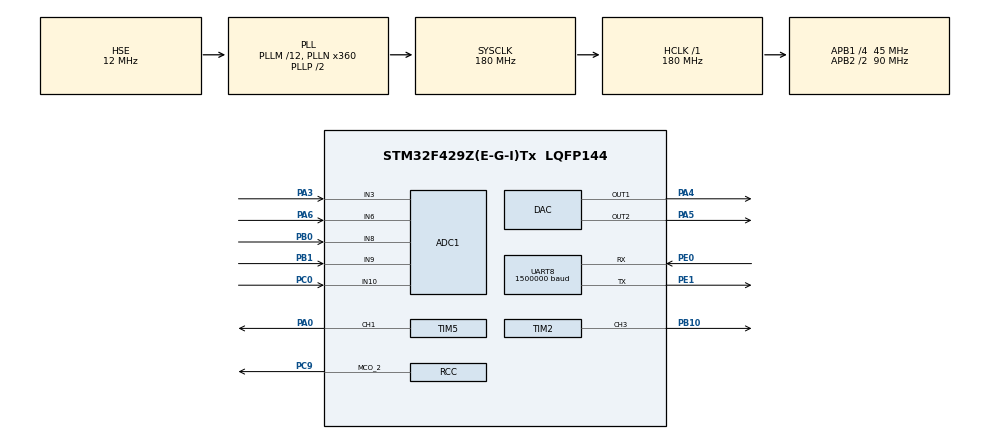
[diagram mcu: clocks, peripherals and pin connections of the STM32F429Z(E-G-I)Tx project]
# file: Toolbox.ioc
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ADC1.Channel-16\#ChannelRegularConversion=ADC_CHANNEL_TEMPSENSOR
ADC1.Channel-17\#ChannelRegularConversion=ADC_CHANNEL_VREFINT
ADC1.DMAContinuousRequests=ENABLE
ADC1.EOCSelection=ADC_EOC_SEQ_CONV
ADC1.ExternalTrigConv=ADC_EXTERNALTRIGCONV_T5_CC1
ADC1.ExternalTrigConvEdge=ADC_EXTERNALTRIGCONVEDGE_RISING
ADC1.InjNumberOfConversion=0
ADC1.NbrOfConversion=2
ADC1.Rank-17\#ChannelRegularConversion=2
ADC1.ScanConvMode=ENABLE
ADC1.master=1
Dma.ADC1.2.Channel=DMA_CHANNEL_0
Dma.ADC1.2.Direction=DMA_PERIPH_TO_MEMORY
Dma.ADC1.2.FIFOMode=DMA_FIFOMODE_DISABLE
Dma.ADC1.2.FIFOThreshold=DMA_FIFO_THRESHOLD_HALFFULL
Dma.ADC1.2.Instance=DMA2_Stream0
Dma.ADC1.2.MemBurst=DMA_MBURST_SINGLE
Dma.ADC1.2.MemDataAlignment=DMA_MDATAALIGN_HALFWORD
Dma.ADC1.2.MemInc=DMA_MINC_ENABLE
Dma.ADC1.2.Mode=DMA_CIRCULAR
Dma.ADC1.2.PeriphBurst=DMA_PBURST_SINGLE
Dma.ADC1.2.PeriphDataAlignment=DMA_PDATAALIGN_HALFWORD
Dma.ADC1.2.PeriphInc=DMA_PINC_DISABLE
Dma.ADC1.2.Priority=DMA_PRIORITY_HIGH
Dma.Request0=UART8_TX
Dma.Request1=UART8_RX
Dma.Request2=ADC1
Dma.UART8_RX.1.Channel=DMA_CHANNEL_5
Dma.UART8_RX.1.Direction=DMA_PERIPH_TO_MEMORY
Dma.UART8_RX.1.FIFOMode=DMA_FIFOMODE_DISABLE
Dma.UART8_RX.1.FIFOThreshold=DMA_FIFO_THRESHOLD_HALFFULL
Dma.UART8_RX.1.Instance=DMA1_Stream6
Dma.UART8_RX.1.MemBurst=DMA_MBURST_SINGLE
Dma.UART8_RX.1.MemDataAlignment=DMA_MDATAALIGN_BYTE
Dma.UART8_RX.1.MemInc=DMA_MINC_ENABLE
Dma.UART8_RX.1.Mode=DMA_CIRCULAR
Dma.UART8_RX.1.PeriphBurst=DMA_PBURST_SINGLE
Dma.UART8_RX.1.PeriphDataAlignment=DMA_PDATAALIGN_BYTE
Dma.UART8_RX.1.PeriphInc=DMA_PINC_DISABLE
Dma.UART8_RX.1.Priority=DMA_PRIORITY_VERY_HIGH
Dma.UART8_TX.0.Channel=DMA_CHANNEL_5
Dma.UART8_TX.0.Direction=DMA_MEMORY_TO_PERIPH
Dma.UART8_TX.0.FIFOMode=DMA_FIFOMODE_ENABLE
Dma.UART8_TX.0.FIFOThreshold=DMA_FIFO_THRESHOLD_1QUARTERFULL
Dma.UART8_TX.0.Instance=DMA1_Stream0
Dma.UART8_TX.0.MemBurst=DMA_MBURST_SINGLE
Dma.UART8_TX.0.MemDataAlignment=DMA_MDATAALIGN_BYTE
Dma.UART8_TX.0.MemInc=DMA_MINC_ENABLE
Dma.UART8_TX.0.Mode=DMA_NORMAL
Dma.UART8_TX.0.PeriphBurst=DMA_PBURST_SINGLE
Dma.UART8_TX.0.PeriphDataAlignment=DMA_PDATAALIGN_BYTE
Dma.UART8_TX.0.PeriphInc=DMA_PINC_DISABLE
Dma.UART8_TX.0.Priority=DMA_PRIORITY_VERY_HIGH
Mcu.Family=STM32F4
Mcu.Name=STM32F429Z(E-G-I)Tx
Mcu.Package=LQFP144
NVIC.ADC_IRQn=true\:3\:0\:true\:false\:true
NVIC.DMA1_Stream0_IRQn=true\:1\:0\:true\:false\:true
NVIC.DMA1_Stream6_IRQn=true\:1\:0\:true\:false\:true
NVIC.DMA2_Stream0_IRQn=true\:2\:0\:true\:false\:true
NVIC.PriorityGroup=NVIC_PRIORITYGROUP_4
PA0/WKUP.GPIO_ModeDefaultPP=GPIO_MODE_AF_OD
PA0/WKUP.GPIO_PuPd=GPIO_NOPULL
PA0/WKUP.GPIO_Speed=GPIO_SPEED_FREQ_LOW
PA0/WKUP.Signal=S_TIM5_CH1
PA1.Signal=ETH_REF_CLK
PA11.Signal=USB_OTG_FS_DM
PA12.Signal=USB_OTG_FS_DP
PA13.Mode=JTAG(5-pin)
PA13.Signal=SYS_JTMS-SWDIO
PA14.Mode=JTAG(5-pin)
PA14.Signal=SYS_JTCK-SWCLK
PA15.Mode=JTAG(5-pin)
PA15.Signal=SYS_JTDI
PA2.Signal=ETH_MDIO
PA3.Signal=ADCx_IN3
PA4.Signal=COMP_DAC1_group
PA5.Signal=COMP_DAC2_group
PA6.Signal=ADCx_IN6
PA7.Signal=ETH_CRS_DV
PA9.Signal=USB_OTG_FS_VBUS
PB0.Signal=ADCx_IN8
PB1.Signal=ADCx_IN9
PB10.GPIO_ModeDefaultPP=GPIO_MODE_AF_PP
PB10.GPIO_PuPd=GPIO_PULLUP
PB10.GPIO_Speed=GPIO_SPEED_FREQ_VERY_HIGH
PB10.Signal=S_TIM2_CH3
PB11.Signal=ETH_TX_EN
PB12.Signal=ETH_TXD0
PB13.Signal=ETH_TXD1
PB3.Mode=JTAG(5-pin)
PB3.Signal=SYS_JTDO-SWO
PB4.Mode=JTAG(5-pin)
PB4.Signal=SYS_JTRST
PC0.Signal=ADCx_IN10
PC1.Signal=ETH_MDC
PC12.Signal=SDIO_CK
PC4.Signal=ETH_RXD0
PC5.Signal=ETH_RXD1
PC8.Signal=SDIO_D0
PC9.GPIO_Mode=GPIO_MODE_AF_PP
PC9.GPIO_PuPd=GPIO_NOPULL
PC9.GPIO_Speed=GPIO_SPEED_FREQ_VERY_HIGH
PC9.Mode=Clock-out-2
PC9.Signal=RCC_MCO_2
PD2.Signal=SDIO_CMD
PE0.GPIO_Mode=GPIO_MODE_AF_PP
PE0.GPIO_PuPd=GPIO_PULLUP
PE0.GPIO_Speed=GPIO_SPEED_FREQ_VERY_HIGH
PE0.Mode=Asynchronous
PE0.Signal=UART8_RX
PE1.GPIO_Mode=GPIO_MODE_AF_PP
PE1.GPIO_PuPd=GPIO_PULLUP
PE1.GPIO_Speed=GPIO_SPEED_FREQ_VERY_HIGH
PE1.Mode=Asynchronous
PE1.Signal=UART8_TX
PH0/OSC_IN.Mode=HSE-External-Oscillator
PH0/OSC_IN.Signal=RCC_OSC_IN
PH1/OSC_OUT.Mode=HSE-External-Oscillator
PH1/OSC_OUT.Signal=RCC_OSC_OUT
ProjectManager.HeapSize=0x400
ProjectManager.StackSize=0x200
ProjectManager.TargetToolchain=TrueSTUDIO
RCC.48MHZClocksFreq_Value=45000000
RCC.AHBFreq_Value=180000000
RCC.APB1CLKDivider=RCC_HCLK_DIV4
RCC.APB1Freq_Value=45000000
RCC.APB1TimFreq_Value=90000000
RCC.APB2CLKDivider=RCC_HCLK_DIV2
RCC.APB2Freq_Value=90000000
RCC.APB2TimFreq_Value=180000000
RCC.CortexFreq_Value=180000000
RCC.HCLKFreq_Value=180000000
RCC.HSE_VALUE=12000000
RCC.HSI_VALUE=16000000
RCC.LSE_VALUE=32768
RCC.PLLI2SN=400
RCC.PLLM=12
RCC.PLLN=360
RCC.PLLQ=8
RCC.PLLSourceVirtual=RCC_PLLSOURCE_HSE
RCC.RCC_MCO2Source=RCC_MCO2SOURCE_PLLI2SCLK
RCC.RCC_MCODiv2=RCC_MCODIV_4
RCC.SYSCLKFreq_VALUE=180000000
RCC.SYSCLKSource=RCC_SYSCLKSOURCE_PLLCLK
RCC.VCOOutputFreq_Value=360000000
SH.ADCx_IN10.0=ADC1_IN10,IN10
SH.ADCx_IN3.0=ADC1_IN3,IN3
SH.ADCx_IN6.0=ADC1_IN6,IN6
SH.ADCx_IN8.0=ADC1_IN8,IN8
SH.ADCx_IN9.0=ADC1_IN9,IN9
SH.COMP_DAC1_group.0=DAC_OUT1,DAC_OUT1
SH.COMP_DAC2_group.0=DAC_OUT2,DAC_OUT2
SH.S_TIM2_CH3.0=TIM2_CH3,PWM Generation3 CH3
SH.S_TIM5_CH1.0=TIM5_CH1,PWM Generation1 CH1
TIM2.Channel-PWM\ Generation3\ CH3=TIM_CHANNEL_3
TIM2.OCFastMode_PWM-PWM\ Generation3\ CH3=TIM_OCFAST_ENABLE
TIM2.Period=9000
TIM2.Pulse-PWM\ Generation3\ CH3=3000
TIM5.OCFastMode_PWM-PWM\ Generation1\ CH1=TIM_OCFAST_ENABLE
TIM5.Period=180000000
TIM5.Pulse-PWM\ Generation1\ CH1=10
TIM5.TIM_MasterOutputTrigger=TIM_TRGO_OC1REF
UART8.BaudRate=1500000
VP_ADC1_TempSens_Input.Mode=IN-TempSens
VP_ADC1_Vref_Input.Mode=IN-Vrefint
VP_TIM2_VS_ClockSourceINT.Mode=Internal
VP_TIM5_VS_ClockSourceINT.Mode=Internal
board=Toolbox

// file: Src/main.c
/**
  ******************************************************************************
  * File Name          : main.c
  * Description        : Main program body
  ******************************************************************************
  *
  * COPYRIGHT(c) 2016 STMicroelectronics
  *
  * Redistribution and use in source and binary forms, with or without modification,
  * are permitted provided that the following conditions are met:
  *   1. Redistributions of source code must retain the above copyright notice,
  *      this list of conditions and the following disclaimer.
  *   2. Redistributions in binary form must reproduce the above copyright notice,
  *      this list of conditions and the following disclaimer in the documentation
  *      and/or other materials provided with the distribution.
  *   3. Neither the name of STMicroelectronics nor the names of its contributors
  *      may be used to endorse or promote products derived from this software
  *      without specific prior written permission.
  *
  * THIS SOFTWARE IS PROVIDED BY THE COPYRIGHT HOLDERS AND CONTRIBUTORS "AS IS"
  * AND ANY EXPRESS OR IMPLIED WARRANTIES, INCLUDING, BUT NOT LIMITED TO, THE
  * IMPLIED WARRANTIES OF MERCHANTABILITY AND FITNESS FOR A PARTICULAR PURPOSE ARE
  * DISCLAIMED. IN NO EVENT SHALL THE COPYRIGHT HOLDER OR CONTRIBUTORS BE LIABLE
  * FOR ANY DIRECT, INDIRECT, INCIDENTAL, SPECIAL, EXEMPLARY, OR CONSEQUENTIAL
  * DAMAGES (INCLUDING, BUT NOT LIMITED TO, PROCUREMENT OF SUBSTITUTE GOODS OR
  * SERVICES; LOSS OF USE, DATA, OR PROFITS; OR BUSINESS INTERRUPTION) HOWEVER
  * CAUSED AND ON ANY THEORY OF LIABILITY, WHETHER IN CONTRACT, STRICT LIABILITY,
  * OR TORT (INCLUDING NEGLIGENCE OR OTHERWISE) ARISING IN ANY WAY OUT OF THE USE
  * OF THIS SOFTWARE, EVEN IF ADVISED OF THE POSSIBILITY OF SUCH DAMAGE.
  *
  ******************************************************************************
  */
#include "stm32f4xx_hal.h"

/* USER CODE BEGIN Includes */
#include "ctrl.h"
#include "uart.h"
#include "adc.h"
#include "dac.h"
#include "handles.h"
#include "info.h"
/* USER CODE END Includes */

ADC_HandleTypeDef hadc1;
DMA_HandleTypeDef hdma_adc1;

DAC_HandleTypeDef hdac;

TIM_HandleTypeDef htim2;
TIM_HandleTypeDef htim5;

UART_HandleTypeDef huart8;
DMA_HandleTypeDef hdma_uart8_tx;
DMA_HandleTypeDef hdma_uart8_rx;

/* USER CODE BEGIN PV */
//uint8_t uartBuffer[2][PKG_SIZE];
//uint8_t uartRecv = 0;
/* USER CODE END PV */

void SystemClock_Config(void);
static void MX_GPIO_Init(void);
static void MX_DMA_Init(void);
static void MX_ADC1_Init(void);
static void MX_DAC_Init(void);
static void MX_TIM2_Init(void);
static void MX_TIM5_Init(void);
static void MX_UART8_Init(void);

void HAL_TIM_MspPostInit(TIM_HandleTypeDef *htim);

/* USER CODE BEGIN PFP */
void init(void);
/* USER CODE END PFP */

/* USER CODE BEGIN 0 */
void init(void)
{
	initUART();
	initADC();
	initDAC();
	// PWM Timer
	HAL_TIM_OC_Start(&htim2, TIM_CHANNEL_3);
}

void reset(void)
{
	resetADC();
}
/* USER CODE END 0 */

int main(void)
{

  /* MCU Configuration----------------------------------------------------------*/

  /* Reset of all peripherals, Initializes the Flash interface and the Systick. */
  HAL_Init();

  /* Configure the system clock */
  SystemClock_Config();

  /* Initialize all configured peripherals */
  MX_GPIO_Init();
  MX_DMA_Init();
  MX_ADC1_Init();
  MX_DAC_Init();
  MX_TIM2_Init();
  MX_TIM5_Init();
  MX_UART8_Init();

  /* USER CODE BEGIN 2 */
	init();
  /* USER CODE END 2 */

  /* USER CODE BEGIN 3 */
	for (;;)
		ctrlRootLoop();
  /* USER CODE END 3 */

}

/** System Clock Configuration
*/
void SystemClock_Config(void)
{

  RCC_OscInitTypeDef RCC_OscInitStruct;
  RCC_ClkInitTypeDef RCC_ClkInitStruct;
  RCC_PeriphCLKInitTypeDef PeriphClkInitStruct;

  __HAL_RCC_PWR_CLK_ENABLE();

  __HAL_PWR_VOLTAGESCALING_CONFIG(PWR_REGULATOR_VOLTAGE_SCALE1);

  RCC_OscInitStruct.OscillatorType = RCC_OSCILLATORTYPE_HSE;
  RCC_OscInitStruct.HSEState = RCC_HSE_ON;
  RCC_OscInitStruct.PLL.PLLState = RCC_PLL_ON;
  RCC_OscInitStruct.PLL.PLLSource = RCC_PLLSOURCE_HSE;
  RCC_OscInitStruct.PLL.PLLM = 12;
  RCC_OscInitStruct.PLL.PLLN = 360;
  RCC_OscInitStruct.PLL.PLLP = RCC_PLLP_DIV2;
  RCC_OscInitStruct.PLL.PLLQ = 8;
  HAL_RCC_OscConfig(&RCC_OscInitStruct);

  HAL_PWREx_EnableOverDrive();

  RCC_ClkInitStruct.ClockType = RCC_CLOCKTYPE_HCLK|RCC_CLOCKTYPE_SYSCLK
                              |RCC_CLOCKTYPE_PCLK1|RCC_CLOCKTYPE_PCLK2;
  RCC_ClkInitStruct.SYSCLKSource = RCC_SYSCLKSOURCE_PLLCLK;
  RCC_ClkInitStruct.AHBCLKDivider = RCC_SYSCLK_DIV1;
  RCC_ClkInitStruct.APB1CLKDivider = RCC_HCLK_DIV4;
  RCC_ClkInitStruct.APB2CLKDivider = RCC_HCLK_DIV2;
  HAL_RCC_ClockConfig(&RCC_ClkInitStruct, FLASH_LATENCY_5);

  PeriphClkInitStruct.PeriphClockSelection = RCC_PERIPHCLK_PLLI2S;
  PeriphClkInitStruct.PLLI2S.PLLI2SN = 400;
  PeriphClkInitStruct.PLLI2S.PLLI2SR = 2;
  HAL_RCCEx_PeriphCLKConfig(&PeriphClkInitStruct);

  HAL_RCC_MCOConfig(RCC_MCO2, RCC_MCO2SOURCE_PLLI2SCLK, RCC_MCODIV_4);

  HAL_SYSTICK_Config(HAL_RCC_GetHCLKFreq()/1000);

  HAL_SYSTICK_CLKSourceConfig(SYSTICK_CLKSOURCE_HCLK);

  /* SysTick_IRQn interrupt configuration */
  HAL_NVIC_SetPriority(SysTick_IRQn, 0, 0);
}

/* ADC1 init function */
void MX_ADC1_Init(void)
{

  ADC_ChannelConfTypeDef sConfig;

    /**Configure the global features of the ADC (Clock, Resolution, Data Alignment and number of conversion)
    */
  hadc1.Instance = ADC1;
  hadc1.Init.ClockPrescaler = ADC_CLOCK_SYNC_PCLK_DIV2;
  hadc1.Init.Resolution = ADC_RESOLUTION_12B;
  hadc1.Init.ScanConvMode = ENABLE;
  hadc1.Init.ContinuousConvMode = DISABLE;
  hadc1.Init.DiscontinuousConvMode = DISABLE;
  hadc1.Init.ExternalTrigConvEdge = ADC_EXTERNALTRIGCONVEDGE_RISING;
  hadc1.Init.ExternalTrigConv = ADC_EXTERNALTRIGCONV_T5_CC1;
  hadc1.Init.DataAlign = ADC_DATAALIGN_RIGHT;
  hadc1.Init.NbrOfConversion = 2;
  hadc1.Init.DMAContinuousRequests = ENABLE;
  hadc1.Init.EOCSelection = ADC_EOC_SEQ_CONV;
  HAL_ADC_Init(&hadc1);

    /**Configure for the selected ADC regular channel its corresponding rank in the sequencer and its sample time.
    */
  sConfig.Channel = ADC_CHANNEL_VREFINT;
  sConfig.Rank = 2;
  sConfig.SamplingTime = ADC_SAMPLETIME_3CYCLES;
  HAL_ADC_ConfigChannel(&hadc1, &sConfig);

    /**Configure for the selected ADC regular channel its corresponding rank in the sequencer and its sample time.
    */
  sConfig.Channel = ADC_CHANNEL_TEMPSENSOR;
  sConfig.Rank = 1;
  HAL_ADC_ConfigChannel(&hadc1, &sConfig);

}

/* DAC init function */
void MX_DAC_Init(void)
{

  DAC_ChannelConfTypeDef sConfig;

    /**DAC Initialization
    */
  hdac.Instance = DAC;
  HAL_DAC_Init(&hdac);

    /**DAC channel OUT1 config
    */
  sConfig.DAC_Trigger = DAC_TRIGGER_NONE;
  sConfig.DAC_OutputBuffer = DAC_OUTPUTBUFFER_ENABLE;
  HAL_DAC_ConfigChannel(&hdac, &sConfig, DAC_CHANNEL_1);

    /**DAC channel OUT2 config
    */
  HAL_DAC_ConfigChannel(&hdac, &sConfig, DAC_CHANNEL_2);

}

/* TIM2 init function */
void MX_TIM2_Init(void)
{

  TIM_ClockConfigTypeDef sClockSourceConfig;
  TIM_MasterConfigTypeDef sMasterConfig;
  TIM_OC_InitTypeDef sConfigOC;

  htim2.Instance = TIM2;
  htim2.Init.Prescaler = 0;
  htim2.Init.CounterMode = TIM_COUNTERMODE_UP;
  htim2.Init.Period = 9000;
  htim2.Init.ClockDivision = TIM_CLOCKDIVISION_DIV1;
  HAL_TIM_Base_Init(&htim2);

  sClockSourceConfig.ClockSource = TIM_CLOCKSOURCE_INTERNAL;
  HAL_TIM_ConfigClockSource(&htim2, &sClockSourceConfig);

  HAL_TIM_PWM_Init(&htim2);

  sMasterConfig.MasterOutputTrigger = TIM_TRGO_RESET;
  sMasterConfig.MasterSlaveMode = TIM_MASTERSLAVEMODE_DISABLE;
  HAL_TIMEx_MasterConfigSynchronization(&htim2, &sMasterConfig);

  sConfigOC.OCMode = TIM_OCMODE_PWM1;
  sConfigOC.Pulse = 3000;
  sConfigOC.OCPolarity = TIM_OCPOLARITY_HIGH;
  sConfigOC.OCFastMode = TIM_OCFAST_ENABLE;
  HAL_TIM_PWM_ConfigChannel(&htim2, &sConfigOC, TIM_CHANNEL_3);

  HAL_TIM_MspPostInit(&htim2);

}

/* TIM5 init function */
void MX_TIM5_Init(void)
{

  TIM_ClockConfigTypeDef sClockSourceConfig;
  TIM_MasterConfigTypeDef sMasterConfig;
  TIM_OC_InitTypeDef sConfigOC;

  htim5.Instance = TIM5;
  htim5.Init.Prescaler = 0;
  htim5.Init.CounterMode = TIM_COUNTERMODE_UP;
  htim5.Init.Period = 180000000;
  htim5.Init.ClockDivision = TIM_CLOCKDIVISION_DIV1;
  HAL_TIM_Base_Init(&htim5);

  sClockSourceConfig.ClockSource = TIM_CLOCKSOURCE_INTERNAL;
  HAL_TIM_ConfigClockSource(&htim5, &sClockSourceConfig);

  HAL_TIM_PWM_Init(&htim5);

  sMasterConfig.MasterOutputTrigger = TIM_TRGO_OC1REF;
  sMasterConfig.MasterSlaveMode = TIM_MASTERSLAVEMODE_DISABLE;
  HAL_TIMEx_MasterConfigSynchronization(&htim5, &sMasterConfig);

  sConfigOC.OCMode = TIM_OCMODE_PWM1;
  sConfigOC.Pulse = 10;
  sConfigOC.OCPolarity = TIM_OCPOLARITY_HIGH;
  sConfigOC.OCFastMode = TIM_OCFAST_ENABLE;
  HAL_TIM_PWM_ConfigChannel(&htim5, &sConfigOC, TIM_CHANNEL_1);

  HAL_TIM_MspPostInit(&htim5);

}

/* UART8 init function */
void MX_UART8_Init(void)
{

  huart8.Instance = UART8;
  huart8.Init.BaudRate = 1500000;
  huart8.Init.WordLength = UART_WORDLENGTH_8B;
  huart8.Init.StopBits = UART_STOPBITS_1;
  huart8.Init.Parity = UART_PARITY_NONE;
  huart8.Init.Mode = UART_MODE_TX_RX;
  huart8.Init.HwFlowCtl = UART_HWCONTROL_NONE;
  huart8.Init.OverSampling = UART_OVERSAMPLING_16;
  HAL_UART_Init(&huart8);

}

void MX_DMA_Init(void)
{
  /* DMA controller clock enable */
  __HAL_RCC_DMA1_CLK_ENABLE();
  __HAL_RCC_DMA2_CLK_ENABLE();

  /* DMA interrupt init */
  /* DMA1_Stream0_IRQn interrupt configuration */
  HAL_NVIC_SetPriority(DMA1_Stream0_IRQn, 1, 0);
  HAL_NVIC_EnableIRQ(DMA1_Stream0_IRQn);
  /* DMA1_Stream6_IRQn interrupt configuration */
  HAL_NVIC_SetPriority(DMA1_Stream6_IRQn, 1, 0);
  HAL_NVIC_EnableIRQ(DMA1_Stream6_IRQn);
  /* DMA2_Stream0_IRQn interrupt configuration */
  HAL_NVIC_SetPriority(DMA2_Stream0_IRQn, 2, 0);
  HAL_NVIC_EnableIRQ(DMA2_Stream0_IRQn);

}

/** Configure pins as
        * Analog
        * Input
        * Output
        * EVENT_OUT
        * EXTI
     PC1   ------> ETH_MDC
     PA1   ------> ETH_REF_CLK
     PA2   ------> ETH_MDIO
     PA7   ------> ETH_CRS_DV
     PC4   ------> ETH_RXD0
     PC5   ------> ETH_RXD1
     PB11   ------> ETH_TX_EN
     PB12   ------> ETH_TXD0
     PB13   ------> ETH_TXD1
     PC8   ------> SDIO_D0
     PC9   ------> RCC_MCO_2
     PA9   ------> USB_OTG_FS_VBUS
     PA11   ------> USB_OTG_FS_DM
     PA12   ------> USB_OTG_FS_DP
     PC12   ------> SDIO_CK
     PD2   ------> SDIO_CMD
*/
void MX_GPIO_Init(void)
{

  GPIO_InitTypeDef GPIO_InitStruct;

  /* GPIO Ports Clock Enable */
  __HAL_RCC_GPIOH_CLK_ENABLE();
  __HAL_RCC_GPIOC_CLK_ENABLE();
  __HAL_RCC_GPIOA_CLK_ENABLE();
  __HAL_RCC_GPIOB_CLK_ENABLE();
  __HAL_RCC_GPIOD_CLK_ENABLE();
  __HAL_RCC_GPIOE_CLK_ENABLE();

  /*Configure GPIO pins : PC1 PC4 PC5 */
  GPIO_InitStruct.Pin = GPIO_PIN_1|GPIO_PIN_4|GPIO_PIN_5;
  GPIO_InitStruct.Mode = GPIO_MODE_AF_PP;
  GPIO_InitStruct.Pull = GPIO_NOPULL;
  GPIO_InitStruct.Speed = GPIO_SPEED_FREQ_VERY_HIGH;
  GPIO_InitStruct.Alternate = GPIO_AF11_ETH;
  HAL_GPIO_Init(GPIOC, &GPIO_InitStruct);

  /*Configure GPIO pins : PA1 PA2 PA7 */
  GPIO_InitStruct.Pin = GPIO_PIN_1|GPIO_PIN_2|GPIO_PIN_7;
  GPIO_InitStruct.Mode = GPIO_MODE_AF_PP;
  GPIO_InitStruct.Pull = GPIO_NOPULL;
  GPIO_InitStruct.Speed = GPIO_SPEED_FREQ_VERY_HIGH;
  GPIO_InitStruct.Alternate = GPIO_AF11_ETH;
  HAL_GPIO_Init(GPIOA, &GPIO_InitStruct);

  /*Configure GPIO pins : PB11 PB12 PB13 */
  GPIO_InitStruct.Pin = GPIO_PIN_11|GPIO_PIN_12|GPIO_PIN_13;
  GPIO_InitStruct.Mode = GPIO_MODE_AF_PP;
  GPIO_InitStruct.Pull = GPIO_NOPULL;
  GPIO_InitStruct.Speed = GPIO_SPEED_FREQ_VERY_HIGH;
  GPIO_InitStruct.Alternate = GPIO_AF11_ETH;
  HAL_GPIO_Init(GPIOB, &GPIO_InitStruct);

  /*Configure GPIO pins : PC8 PC12 */
  GPIO_InitStruct.Pin = GPIO_PIN_8|GPIO_PIN_12;
  GPIO_InitStruct.Mode = GPIO_MODE_AF_PP;
  GPIO_InitStruct.Pull = GPIO_NOPULL;
  GPIO_InitStruct.Speed = GPIO_SPEED_FREQ_VERY_HIGH;
  GPIO_InitStruct.Alternate = GPIO_AF12_SDIO;
  HAL_GPIO_Init(GPIOC, &GPIO_InitStruct);

  /*Configure GPIO pin : PC9 */
  GPIO_InitStruct.Pin = GPIO_PIN_9;
  GPIO_InitStruct.Mode = GPIO_MODE_AF_PP;
  GPIO_InitStruct.Pull = GPIO_NOPULL;
  GPIO_InitStruct.Speed = GPIO_SPEED_FREQ_VERY_HIGH;
  GPIO_InitStruct.Alternate = GPIO_AF0_MCO;
  HAL_GPIO_Init(GPIOC, &GPIO_InitStruct);

  /*Configure GPIO pin : PA9 */
  GPIO_InitStruct.Pin = GPIO_PIN_9;
  GPIO_InitStruct.Mode = GPIO_MODE_INPUT;
  GPIO_InitStruct.Pull = GPIO_NOPULL;
  HAL_GPIO_Init(GPIOA, &GPIO_InitStruct);

  /*Configure GPIO pins : PA11 PA12 */
  GPIO_InitStruct.Pin = GPIO_PIN_11|GPIO_PIN_12;
  GPIO_InitStruct.Mode = GPIO_MODE_AF_PP;
  GPIO_InitStruct.Pull = GPIO_NOPULL;
  GPIO_InitStruct.Speed = GPIO_SPEED_FREQ_VERY_HIGH;
  GPIO_InitStruct.Alternate = GPIO_AF10_OTG_FS;
  HAL_GPIO_Init(GPIOA, &GPIO_InitStruct);

  /*Configure GPIO pin : PD2 */
  GPIO_InitStruct.Pin = GPIO_PIN_2;
  GPIO_InitStruct.Mode = GPIO_MODE_AF_PP;
  GPIO_InitStruct.Pull = GPIO_NOPULL;
  GPIO_InitStruct.Speed = GPIO_SPEED_FREQ_VERY_HIGH;
  GPIO_InitStruct.Alternate = GPIO_AF12_SDIO;
  HAL_GPIO_Init(GPIOD, &GPIO_InitStruct);

}

/************************ (C) COPYRIGHT STMicroelectronics *****END OF FILE****/
